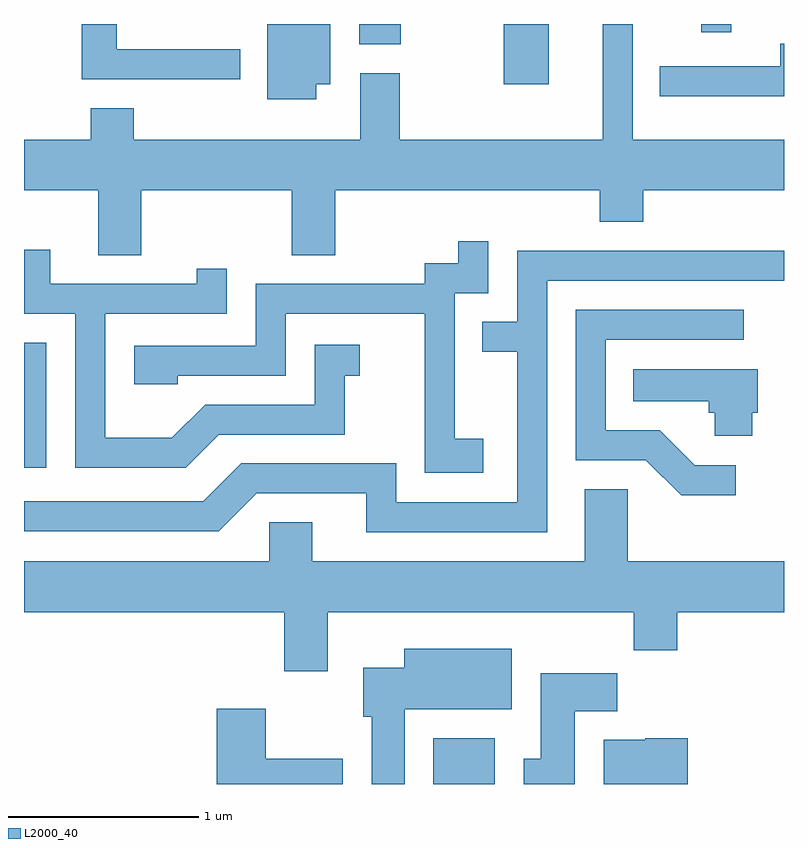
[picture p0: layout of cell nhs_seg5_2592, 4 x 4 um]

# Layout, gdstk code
import gdstk
lib = gdstk.Library(unit=1e-6, precision=1e-09)
def R(c, l, rs):  # rectangles x0, y0, x1, y1
    for r in rs: c.add(gdstk.rectangle(r[:2], r[2:], *l))
def P(c, l, *ps):  # polygons
    for p in ps: c.add(gdstk.Polygon(p, *l))
L2000_40 = (2000, 40)

nhs_seg5_2592 = lib.new_cell('nhs_seg5_2592')
R(nhs_seg5_2592, L2000_40, [(263.766,1498.072,264.089,1498.314), (261.611,1499.736,261.729,1500.394), (264.136,1501.756,264.374,1502.072), (263.376,1501.966,263.594,1502.072), (265.176,1502.028,265.334,1502.072)])
P(nhs_seg5_2592, L2000_40, [(263.149,1501.756),(263.224,1501.756),(263.224,1502.072),(262.891,1502.072),(262.891,1501.676),(263.149,1501.676)],
  [(262.748,1501.939),(262.099,1501.939),(262.099,1502.072),(261.916,1502.072),(261.916,1501.781),(262.748,1501.781)],
  [(262.229,1501.196),(263.021,1501.196),(263.021,1500.856),(263.249,1500.856),(263.249,1501.196),(264.641,1501.196),(264.641,1501.031),(264.869,1501.031),(264.869,1501.196),(265.611,1501.196),(265.611,1501.464),(264.814,1501.464),(264.814,1502.072),(264.656,1502.072),(264.656,1501.464),(263.589,1501.464),(263.589,1501.814),(263.381,1501.814),(263.381,1501.464),(262.189,1501.464),(262.189,1501.629),(261.961,1501.629),(261.961,1501.464),(261.611,1501.464),(261.611,1501.196),(262.001,1501.196),(262.001,1500.856),(262.229,1500.856)],
  [(265.611,1501.969),(265.591,1501.969),(265.591,1501.849),(264.958,1501.849),(264.958,1501.691),(265.611,1501.691)],
  [(264.029,1499.889),(263.879,1499.889),(263.879,1500.656),(264.054,1500.656),(264.054,1500.928),(263.896,1500.928),(263.896,1500.814),(263.721,1500.814),(263.721,1500.704),(262.831,1500.704),(262.831,1500.379),(262.191,1500.379),(262.191,1500.176),(262.419,1500.176),(262.419,1500.221),(262.989,1500.221),(262.989,1500.546),(263.721,1500.546),(263.721,1499.711),(264.029,1499.711)],
  [(262.637,1499.911),(263.299,1499.911),(263.299,1500.221),(263.378,1500.221),(263.378,1500.384),(263.141,1500.384),(263.141,1500.069),(262.564,1500.069),(262.389,1499.894),(262.039,1499.894),(262.039,1500.546),(262.679,1500.546),(262.679,1500.783),(262.521,1500.783),(262.521,1500.704),(261.749,1500.704),(261.749,1500.883),(261.611,1500.883),(261.611,1500.546),(261.881,1500.546),(261.881,1499.736),(262.462,1499.736)],
  [(264.364,1500.721),(265.611,1500.721),(265.611,1500.879),(264.206,1500.879),(264.206,1500.504),(264.023,1500.504),(264.023,1500.346),(264.206,1500.346),(264.206,1499.554),(263.569,1499.554),(263.569,1499.759),(262.754,1499.759),(262.554,1499.559),(261.611,1499.559),(261.611,1499.401),(262.637,1499.401),(262.837,1499.601),(263.411,1499.601),(263.411,1499.396),(264.364,1499.396)],
  [(265.358,1499.749),(265.142,1499.749),(264.957,1499.934),(264.674,1499.934),(264.674,1500.411),(265.398,1500.411),(265.398,1500.569),(264.516,1500.569),(264.516,1499.776),(264.884,1499.776),(265.069,1499.591),(265.358,1499.591)],
  [(265.444,1500.026),(265.474,1500.026),(265.474,1500.254),(264.818,1500.254),(264.818,1500.086),(265.216,1500.086),(265.216,1500.026),(265.246,1500.026),(265.246,1499.906),(265.444,1499.906)],
  [(263.209,1498.976),(264.821,1498.976),(264.821,1498.776),(265.049,1498.776),(265.049,1498.976),(265.611,1498.976),(265.611,1499.244),(264.789,1499.244),(264.789,1499.624),(264.561,1499.624),(264.561,1499.244),(263.129,1499.244),(263.129,1499.449),(262.901,1499.449),(262.901,1499.244),(261.611,1499.244),(261.611,1498.976),(262.981,1498.976),(262.981,1498.666),(263.209,1498.666)],
  [(263.614,1498.466),(264.179,1498.466),(264.179,1498.784),(263.611,1498.784),(263.611,1498.684),(263.396,1498.684),(263.396,1498.426),(263.441,1498.426),(263.441,1498.072),(263.614,1498.072)],
  [(264.509,1498.456),(264.734,1498.456),(264.734,1498.654),(264.331,1498.654),(264.331,1498.204),(264.241,1498.204),(264.241,1498.072),(264.509,1498.072)],
  [(263.289,1498.204),(262.884,1498.204),(262.884,1498.469),(262.626,1498.469),(262.626,1498.072),(263.289,1498.072)],
  [(265.104,1498.314),(264.88,1498.314),(264.88,1498.304),(264.661,1498.304),(264.661,1498.072),(265.104,1498.072)])

lib.write_gds('nhs_seg5_2592.gds')
